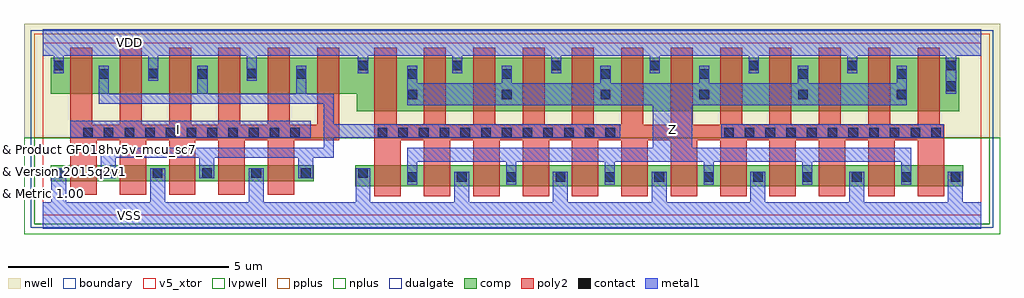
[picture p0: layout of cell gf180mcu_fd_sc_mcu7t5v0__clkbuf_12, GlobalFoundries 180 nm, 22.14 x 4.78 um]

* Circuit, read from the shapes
.subckt gf180mcu_fd_sc_mcu7t5v0__clkbuf_12 I VDD VSS Z
XM1 n1 I VSS VSUBS nfet_05v0 w=0.365u l=0.6u m=5
XM2 Z n1 VSS VSUBS nfet_05v0 w=0.48u l=0.6u m=12
XM3 n1 I VDD n2 pfet_05v0 w=0.82u l=0.5u m=6
XM4 Z n1 VDD n2 pfet_05v0 w=1.22u l=0.5u m=12
.ends

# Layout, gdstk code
import gdstk
lib = gdstk.Library(unit=1e-6, precision=1e-09)
def R(c, l, rs):  # rectangles x0, y0, x1, y1
    for r in rs: c.add(gdstk.rectangle(r[:2], r[2:], *l))
def A(c, l, x, y, w, h, nx, ny, dx, dy):  # array of equal rectangles
    R(c, l, [(x+i*dx, y+j*dy, x+i*dx+w, y+j*dy+h) for i in range(nx) for j in range(ny)])
def P(c, l, *ps):  # polygons
    for p in ps: c.add(gdstk.Polygon(p, *l))
boundary = (0, 0)
nwell = (21, 0)
comp = (22, 0)
poly2 = (30, 0)
pplus = (31, 0)
nplus = (32, 0)
contact = (33, 0)
metal1 = (34, 0)
dualgate = (55, 0)
v5_xtor = (112, 1)
lvpwell = (204, 0)

gf180mcu_fd_sc_mcu7t5v0_ = lib.new_cell('gf180mcu_fd_sc_mcu7t5v0__clkbuf_12')
R(gf180mcu_fd_sc_mcu7t5v0_, boundary, [(0,0,21.28,3.92)])
R(gf180mcu_fd_sc_mcu7t5v0_, nwell, [(-0.43,1.76,21.71,4.35)])
R(gf180mcu_fd_sc_mcu7t5v0_, comp, [(7.08,0.66,20.88,1.14), (0.18,0.775,6.14,1.14)])
P(gf180mcu_fd_sc_mcu7t5v0_, comp, [(7.12,2.36),(7.12,2.76),(0.18,2.76),(0.18,3.58),(20.78,3.58),(20.78,2.36)])
P(gf180mcu_fd_sc_mcu7t5v0_, poly2, [(0.62,0.47),(0.62,3.8),(1.12,3.8),(1.12,2.06),(1.74,2.06),(1.74,3.8),(2.24,3.8),(2.24,2.06),(2.86,2.06),(2.86,3.8),(3.36,3.8),(3.36,2.06),(3.98,2.06),(3.98,3.8),(4.48,3.8),(4.48,2.06),(5.1,2.06),(5.1,3.8),(5.6,3.8),(5.6,2.06),(6.22,2.06),(6.22,3.8),(6.72,3.8),(6.72,1.7),(5.7,1.7),(5.7,0.47),(5.1,0.47),(5.1,1.7),(4.58,1.7),(4.58,0.47),(3.98,0.47),(3.98,1.7),(3.46,1.7),(3.46,0.47),(2.86,0.47),(2.86,1.7),(2.34,1.7),(2.34,0.47),(1.74,0.47),(1.74,1.7),(1.22,1.7),(1.22,0.47)],
  [(7.52,0.44),(7.52,3.8),(8.02,3.8),(8.02,2.06),(8.64,2.06),(8.64,3.8),(9.14,3.8),(9.14,2.06),(9.76,2.06),(9.76,3.8),(10.26,3.8),(10.26,2.06),(10.88,2.06),(10.88,3.8),(11.38,3.8),(11.38,2.06),(12,2.06),(12,3.8),(12.5,3.8),(12.5,2.06),(13.12,2.06),(13.12,3.8),(13.62,3.8),(13.62,2.06),(14.24,2.06),(14.24,3.8),(14.74,3.8),(14.74,2.06),(15.36,2.06),(15.36,3.8),(15.86,3.8),(15.86,2.06),(16.48,2.06),(16.48,3.8),(16.98,3.8),(16.98,2.06),(17.6,2.06),(17.6,3.8),(18.1,3.8),(18.1,2.06),(18.72,2.06),(18.72,3.8),(19.22,3.8),(19.22,2.06),(19.84,2.06),(19.84,3.8),(20.34,3.8),(20.34,2.06),(20.44,2.06),(20.44,0.44),(19.84,0.44),(19.84,1.7),(19.32,1.7),(19.32,0.44),(18.72,0.44),(18.72,1.7),(18.2,1.7),(18.2,0.44),(17.6,0.44),(17.6,1.7),(17.08,1.7),(17.08,0.44),(16.48,0.44),(16.48,1.7),(15.96,1.7),(15.96,0.44),(15.36,0.44),(15.36,1.7),(14.84,1.7),(14.84,0.44),(14.24,0.44),(14.24,1.7),(13.72,1.7),(13.72,0.44),(13.12,0.44),(13.12,1.7),(12.6,1.7),(12.6,0.44),(12,0.44),(12,1.7),(11.48,1.7),(11.48,0.44),(10.88,0.44),(10.88,1.7),(10.36,1.7),(10.36,0.44),(9.76,0.44),(9.76,1.7),(9.24,1.7),(9.24,0.44),(8.64,0.44),(8.64,1.7),(8.12,1.7),(8.12,0.44)])
R(gf180mcu_fd_sc_mcu7t5v0_, pplus, [(-0.2,1.76,21.48,4.12)])
R(gf180mcu_fd_sc_mcu7t5v0_, nplus, [(-0.2,-0.2,21.48,1.76)])
A(gf180mcu_fd_sc_mcu7t5v0_, contact, 8.27, 0.76, 0.22, 0.22, 12, 1, 1.12, 0)
A(gf180mcu_fd_sc_mcu7t5v0_, contact, 0.25, 0.85, 0.22, 0.22, 6, 1, 1.12, 0)
A(gf180mcu_fd_sc_mcu7t5v0_, contact, 0.91, 1.77, 0.22, 0.22, 11, 1, 0.47, 0)
A(gf180mcu_fd_sc_mcu7t5v0_, contact, 7.59, 1.77, 0.22, 0.22, 12, 1, 0.47, 0)
A(gf180mcu_fd_sc_mcu7t5v0_, contact, 15.45, 1.77, 0.22, 0.22, 11, 1, 0.47, 0)
A(gf180mcu_fd_sc_mcu7t5v0_, contact, 10.41, 2.63, 0.22, 0.22, 5, 2, 2.24, 0.47)
A(gf180mcu_fd_sc_mcu7t5v0_, contact, 1.27, 3.1, 0.22, 0.22, 3, 1, 2.24, 0)
A(gf180mcu_fd_sc_mcu7t5v0_, contact, 9.29, 3.29, 0.22, 0.22, 6, 1, 2.24, 0)
R(gf180mcu_fd_sc_mcu7t5v0_, contact, [(7.15,0.85,7.37,1.07), (8.27,2.63,8.49,2.85), (20.49,2.82,20.71,3.04), (8.27,3.1,8.49,3.32), (2.39,3.11,2.61,3.33), (4.63,3.11,4.85,3.33), (0.25,3.29,0.47,3.51), (7.15,3.29,7.37,3.51)])
R(gf180mcu_fd_sc_mcu7t5v0_, metal1, [(0.62,1.765,6.07,2.15), (15.39,1.765,20.43,2.065)])
P(gf180mcu_fd_sc_mcu7t5v0_, metal1, [(1.31,0.845),(1.31,1.535),(6.365,1.535),(6.365,2.53),(1.265,2.53),(1.265,3.39),(1.495,3.39),(1.495,2.76),(3.505,2.76),(3.505,3.39),(3.735,3.39),(3.735,2.76),(5.745,2.76),(5.745,3.39),(5.975,3.39),(5.975,2.76),(6.595,2.76),(6.595,2.065),(13.09,2.065),(13.09,1.765),(6.595,1.765),(6.595,1.305),(6.13,1.305),(6.13,0.845),(5.79,0.845),(5.79,1.305),(3.89,1.305),(3.89,0.845),(3.55,0.845),(3.55,1.305),(1.65,1.305),(1.65,0.845)],
  [(8.265,0.69),(8.265,1.535),(13.83,1.535),(13.83,2.495),(8.265,2.495),(8.265,3.39),(8.495,3.39),(8.495,3),(10.405,3),(10.405,3.39),(10.635,3.39),(10.635,3),(12.645,3),(12.645,3.39),(12.875,3.39),(12.875,3),(14.885,3),(14.885,3.39),(15.115,3.39),(15.115,3),(17.125,3),(17.125,3.39),(17.355,3.39),(17.355,3),(19.365,3),(19.365,3.39),(19.595,3.39),(19.595,2.495),(14.73,2.495),(14.73,1.535),(19.695,1.535),(19.695,0.69),(19.465,0.69),(19.465,1.215),(17.455,1.215),(17.455,0.69),(17.225,0.69),(17.225,1.215),(15.215,1.215),(15.215,0.69),(14.985,0.69),(14.985,1.215),(12.975,1.215),(12.975,0.69),(12.745,0.69),(12.745,1.215),(10.735,1.215),(10.735,0.69),(10.505,0.69),(10.505,1.215),(8.495,1.215),(8.495,0.69)],
  [(0,-0.3),(0,0.3),(0.19,0.3),(0.19,1.075),(0.53,1.075),(0.53,0.3),(2.43,0.3),(2.43,1.075),(2.77,1.075),(2.77,0.3),(4.67,0.3),(4.67,1.075),(5.01,1.075),(5.01,0.3),(7.09,0.3),(7.09,1.075),(7.43,1.075),(7.43,0.3),(9.33,0.3),(9.33,0.985),(9.67,0.985),(9.67,0.3),(11.57,0.3),(11.57,0.985),(11.91,0.985),(11.91,0.3),(13.81,0.3),(13.81,0.985),(14.15,0.985),(14.15,0.3),(16.05,0.3),(16.05,0.985),(16.39,0.985),(16.39,0.3),(18.29,0.3),(18.29,0.985),(18.63,0.985),(18.63,0.3),(20.53,0.3),(20.53,0.985),(20.87,0.985),(20.87,0.3),(21.28,0.3),(21.28,-0.3)],
  [(20.485,2.76),(20.485,3.62),(18.475,3.62),(18.475,3.23),(18.245,3.23),(18.245,3.62),(16.235,3.62),(16.235,3.23),(16.005,3.23),(16.005,3.62),(13.995,3.62),(13.995,3.23),(13.765,3.23),(13.765,3.62),(11.755,3.62),(11.755,3.23),(11.525,3.23),(11.525,3.62),(9.515,3.62),(9.515,3.23),(9.285,3.23),(9.285,3.62),(7.375,3.62),(7.375,3.23),(7.145,3.23),(7.145,3.62),(4.855,3.62),(4.855,3.05),(4.625,3.05),(4.625,3.62),(2.615,3.62),(2.615,3.05),(2.385,3.05),(2.385,3.62),(0.475,3.62),(0.475,3.23),(0.245,3.23),(0.245,3.62),(0,3.62),(0,4.22),(21.28,4.22),(21.28,3.62),(20.715,3.62),(20.715,2.76)])
R(gf180mcu_fd_sc_mcu7t5v0_, dualgate, [(-0.28,-0.28,21.56,4.2)])
R(gf180mcu_fd_sc_mcu7t5v0_, v5_xtor, [(0,0,21.28,3.92)])
R(gf180mcu_fd_sc_mcu7t5v0_, lvpwell, [(-0.43,-0.43,21.71,1.76)])
gf180mcu_fd_sc_mcu7t5v0_.add(gdstk.Label('VDD', (1.96,3.92), layer=34, texttype=10))
gf180mcu_fd_sc_mcu7t5v0_.add(gdstk.Label('VSS', (1.96,0), layer=34, texttype=10))
gf180mcu_fd_sc_mcu7t5v0_.add(gdstk.Label('Z', (14.28,1.96), layer=34, texttype=10))
gf180mcu_fd_sc_mcu7t5v0_.add(gdstk.Label('I', (3.08,1.96), layer=34, texttype=10))
gf180mcu_fd_sc_mcu7t5v0_.add(gdstk.Label('& Vendor GLOBALFOUNDRIES', (0,2), layer=63, texttype=63))
gf180mcu_fd_sc_mcu7t5v0_.add(gdstk.Label('& Product GF018hv5v_mcu_sc7', (0,1.5), layer=63, texttype=63))
gf180mcu_fd_sc_mcu7t5v0_.add(gdstk.Label('& Version 2015q2v1', (0,1), layer=63, texttype=63))
gf180mcu_fd_sc_mcu7t5v0_.add(gdstk.Label('& Metric 1.00', (0,0.5), layer=63, texttype=63))

lib.write_gds('gf180mcu_fd_sc_mcu7t5v0__clkbuf_12.gds')
